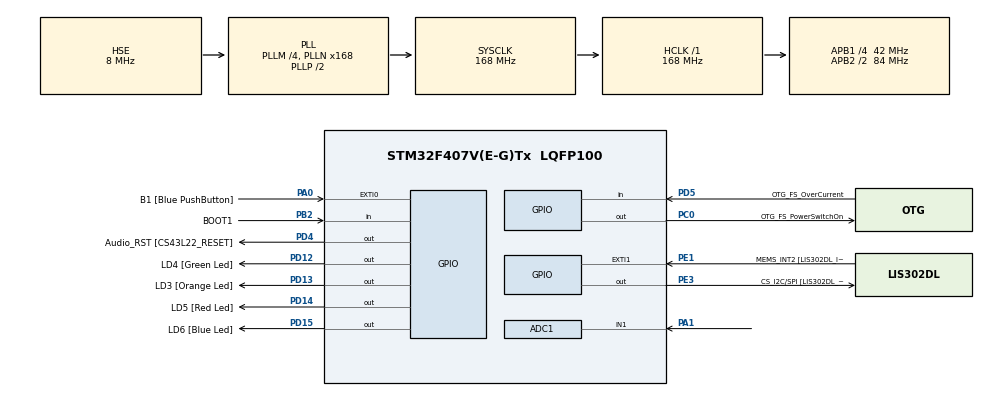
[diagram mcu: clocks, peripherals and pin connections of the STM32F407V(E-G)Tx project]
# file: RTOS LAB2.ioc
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ADC1.Channel-0\#ChannelRegularConversion=ADC_CHANNEL_1
ADC1.Channel-1\#ChannelRegularConversion=ADC_CHANNEL_TEMPSENSOR
ADC1.ClockPrescaler=ADC_CLOCK_SYNC_PCLK_DIV4
ADC1.NbrOfConversion=2
ADC1.NbrOfConversionFlag=1
ADC1.Rank-0\#ChannelRegularConversion=1
ADC1.Rank-1\#ChannelRegularConversion=2
ADC1.SamplingTime-0\#ChannelRegularConversion=ADC_SAMPLETIME_56CYCLES
ADC1.SamplingTime-1\#ChannelRegularConversion=ADC_SAMPLETIME_480CYCLES
ADC1.ScanConvMode=ENABLE
ADC1.master=1
FREERTOS.Queues01=BestQueue,16,uint16_t,0,Dynamic,NULL,NULL
FREERTOS.Tasks01=Task_A,24,128,StartTask_A,Default,NULL,Dynamic,NULL,NULL
FREERTOS.Timers01=ADCTimer,Callback01,osTimerPeriodic,Default,NULL,Dynamic,NULL
FREERTOS.configUSE_NEWLIB_REENTRANT=1
FREERTOS.configUSE_TIMERS=1
Mcu.Family=STM32F4
Mcu.Name=STM32F407V(E-G)Tx
Mcu.Package=LQFP100
NVIC.PriorityGroup=NVIC_PRIORITYGROUP_4
NVIC.TIM1_UP_TIM10_IRQn=true\:5\:0\:false\:false\:true\:true\:true\:true\:true
NVIC.TIM3_IRQn=true\:15\:0\:false\:false\:true\:false\:false\:true\:true
NVIC.TimeBase=TIM3_IRQn
NVIC.TimeBaseIP=TIM3
PA0-WKUP.GPIO_Label=B1 [Blue PushButton]
PA0-WKUP.Signal=GPXTI0
PA1.Signal=ADCx_IN1
PA10.GPIO_Label=OTG_FS_ID
PA10.GPIO_Mode=GPIO_MODE_AF_PP
PA10.GPIO_PuPd=GPIO_NOPULL
PA10.GPIO_Speed=GPIO_SPEED_FREQ_LOW
PA10.Signal=USB_OTG_FS_ID
PA11.GPIO_Label=OTG_FS_DM
PA11.GPIO_Mode=GPIO_MODE_AF_PP
PA11.GPIO_PuPd=GPIO_NOPULL
PA11.GPIO_Speed=GPIO_SPEED_FREQ_LOW
PA11.Signal=USB_OTG_FS_DM
PA12.GPIO_Label=OTG_FS_DP
PA12.GPIO_Mode=GPIO_MODE_AF_PP
PA12.GPIO_PuPd=GPIO_NOPULL
PA12.GPIO_Speed=GPIO_SPEED_FREQ_LOW
PA12.Signal=USB_OTG_FS_DP
PA13.GPIO_Label=SWDIO
PA13.Mode=Serial_Wire
PA13.Signal=SYS_JTMS-SWDIO
PA14.GPIO_Label=SWCLK
PA14.Mode=Serial_Wire
PA14.Signal=SYS_JTCK-SWCLK
PA4.GPIO_Label=I2S3_WS [CS43L22_LRCK]
PA4.GPIO_Mode=GPIO_MODE_AF_PP
PA4.GPIO_PuPd=GPIO_NOPULL
PA4.GPIO_Speed=GPIO_SPEED_FREQ_LOW
PA4.Signal=I2S3_WS
PA5.GPIO_Label=SPI1_SCK [LIS302DL_SCL/SPC]
PA5.GPIO_Mode=GPIO_MODE_AF_PP
PA5.GPIO_PuPd=GPIO_NOPULL
PA5.GPIO_Speed=GPIO_SPEED_FREQ_LOW
PA5.Signal=SPI1_SCK
PA6.GPIO_Label=SPI1_MISO [LIS302DL_SDO]
PA6.GPIO_Mode=GPIO_MODE_AF_PP
PA6.GPIO_PuPd=GPIO_NOPULL
PA6.GPIO_Speed=GPIO_SPEED_FREQ_LOW
PA6.Signal=SPI1_MISO
PA7.GPIO_Label=SPI1_MOSI [LIS302DL_SDA/SDI/SDO]
PA7.GPIO_Mode=GPIO_MODE_AF_PP
PA7.GPIO_PuPd=GPIO_NOPULL
PA7.GPIO_Speed=GPIO_SPEED_FREQ_LOW
PA7.Signal=SPI1_MOSI
PA9.GPIO_Label=VBUS_FS
PA9.GPIO_Mode=GPIO_MODE_INPUT
PA9.GPIO_PuPd=GPIO_NOPULL
PA9.Signal=USB_OTG_FS_VBUS
PB10.GPIO_Label=CLK_IN [MP45DT02_CLK]
PB10.GPIO_Mode=GPIO_MODE_AF_PP
PB10.GPIO_PuPd=GPIO_NOPULL
PB10.GPIO_Speed=GPIO_SPEED_FREQ_LOW
PB10.Signal=I2S2_CK
PB2.GPIO_Label=BOOT1
PB2.GPIO_Mode=GPIO_MODE_INPUT
PB2.GPIO_PuPd=GPIO_NOPULL
PB2.Signal=GPIO_Input
PB3.GPIO_Label=SWO
PB3.Signal=SYS_JTDO-SWO
PB6.GPIO_Label=Audio_SCL [CS43L22_SCL]
PB6.GPIO_Mode=GPIO_MODE_AF_OD
PB6.GPIO_PuPd=GPIO_NOPULL
PB6.GPIO_Speed=GPIO_SPEED_FREQ_LOW
PB6.Signal=I2C1_SCL
PB9.GPIO_Label=Audio_SDA [CS43L22_SDA]
PB9.GPIO_Mode=GPIO_MODE_AF_OD
PB9.GPIO_PuPd=GPIO_NOPULL
PB9.GPIO_Speed=GPIO_SPEED_FREQ_LOW
PB9.Signal=I2C1_SDA
PC0.GPIO_Label=OTG_FS_PowerSwitchOn
PC0.GPIO_PuPd=GPIO_NOPULL
PC0.GPIO_Speed=GPIO_SPEED_FREQ_LOW
PC0.PinState=GPIO_PIN_SET
PC0.Signal=GPIO_Output
PC10.GPIO_Label=I2S3_SCK [CS43L22_SCLK]
PC10.GPIO_Mode=GPIO_MODE_AF_PP
PC10.GPIO_PuPd=GPIO_NOPULL
PC10.GPIO_Speed=GPIO_SPEED_FREQ_LOW
PC10.Signal=I2S3_CK
PC12.GPIO_Label=I2S3_SD [CS43L22_SDIN]
PC12.GPIO_Mode=GPIO_MODE_AF_PP
PC12.GPIO_PuPd=GPIO_NOPULL
PC12.GPIO_Speed=GPIO_SPEED_FREQ_LOW
PC12.Signal=I2S3_SD
PC14-OSC32_IN.GPIO_Label=PC14-OSC32_IN
PC14-OSC32_IN.Signal=RCC_OSC32_IN
PC15-OSC32_OUT.GPIO_Label=PC15-OSC32_OUT
PC15-OSC32_OUT.Signal=RCC_OSC32_OUT
PC3.GPIO_Label=PDM_OUT [MP45DT02_DOUT]
PC3.GPIO_Mode=GPIO_MODE_AF_PP
PC3.GPIO_PuPd=GPIO_NOPULL
PC3.GPIO_Speed=GPIO_SPEED_FREQ_LOW
PC3.Signal=I2S2_SD
PC7.GPIO_Label=I2S3_MCK [CS43L22_MCLK]
PC7.GPIO_Mode=GPIO_MODE_AF_PP
PC7.GPIO_PuPd=GPIO_NOPULL
PC7.GPIO_Speed=GPIO_SPEED_FREQ_LOW
PC7.Signal=I2S3_MCK
PD12.GPIO_Label=LD4 [Green Led]
PD12.GPIO_PuPd=GPIO_NOPULL
PD12.GPIO_Speed=GPIO_SPEED_FREQ_LOW
PD12.Signal=GPIO_Output
PD13.GPIO_Label=LD3 [Orange Led]
PD13.GPIO_PuPd=GPIO_NOPULL
PD13.GPIO_Speed=GPIO_SPEED_FREQ_LOW
PD13.Signal=GPIO_Output
PD14.GPIO_Label=LD5 [Red Led]
PD14.GPIO_PuPd=GPIO_NOPULL
PD14.GPIO_Speed=GPIO_SPEED_FREQ_LOW
PD14.Signal=GPIO_Output
PD15.GPIO_Label=LD6 [Blue Led]
PD15.GPIO_PuPd=GPIO_NOPULL
PD15.GPIO_Speed=GPIO_SPEED_FREQ_LOW
PD15.Signal=GPIO_Output
PD4.GPIO_Label=Audio_RST [CS43L22_RESET]
PD4.GPIO_PuPd=GPIO_NOPULL
PD4.GPIO_Speed=GPIO_SPEED_FREQ_LOW
PD4.Signal=GPIO_Output
PD5.GPIO_Label=OTG_FS_OverCurrent
PD5.GPIO_Mode=GPIO_MODE_INPUT
PD5.GPIO_PuPd=GPIO_NOPULL
PD5.Signal=GPIO_Input
PE1.GPIO_Label=MEMS_INT2 [LIS302DL_INT2]
PE1.GPIO_ModeDefaultEXTI=GPIO_MODE_EVT_RISING
PE1.GPIO_PuPd=GPIO_NOPULL
PE1.Signal=GPXTI1
PE3.GPIO_Label=CS_I2C/SPI [LIS302DL_CS_I2C/SPI]
PE3.GPIO_PuPd=GPIO_NOPULL
PE3.GPIO_Speed=GPIO_SPEED_FREQ_LOW
PE3.Signal=GPIO_Output
PH0-OSC_IN.GPIO_Label=PH0-OSC_IN
PH0-OSC_IN.Mode=HSE-External-Oscillator
PH0-OSC_IN.Signal=RCC_OSC_IN
PH1-OSC_OUT.GPIO_Label=PH1-OSC_OUT
PH1-OSC_OUT.Mode=HSE-External-Oscillator
PH1-OSC_OUT.Signal=RCC_OSC_OUT
ProjectManager.HeapSize=0x200
ProjectManager.StackSize=0x400
ProjectManager.TargetToolchain=STM32CubeIDE
RCC.48MHZClocksFreq_Value=48000000
RCC.AHBFreq_Value=168000000
RCC.APB1CLKDivider=RCC_HCLK_DIV4
RCC.APB1Freq_Value=42000000
RCC.APB1TimFreq_Value=84000000
RCC.APB2CLKDivider=RCC_HCLK_DIV2
RCC.APB2Freq_Value=84000000
RCC.APB2TimFreq_Value=168000000
RCC.CortexFreq_Value=168000000
RCC.HCLKFreq_Value=168000000
RCC.HSE_VALUE=8000000
RCC.HSI_VALUE=16000000
RCC.LSE_VALUE=32768
RCC.PLLM=4
RCC.PLLN=168
RCC.PLLQ=7
RCC.PLLSourceVirtual=RCC_PLLSOURCE_HSE
RCC.SYSCLKFreq_VALUE=168000000
RCC.SYSCLKSource=RCC_SYSCLKSOURCE_PLLCLK
RCC.VCOOutputFreq_Value=336000000
SH.ADCx_IN1.0=ADC1_IN1,IN1
TIM10.AutoReloadPreload=TIM_AUTORELOAD_PRELOAD_ENABLE
TIM10.Period=732
TIM10.Prescaler=60000
VP_ADC1_TempSens_Input.Mode=IN-TempSens
VP_FREERTOS_VS_CMSIS_V2.Mode=CMSIS_V2
VP_SYS_VS_tim3.Mode=TIM3
VP_TIM10_VS_ClockSourceINT.Mode=Enable_Timer
board=STM32F407G-DISC1

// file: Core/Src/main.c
/* USER CODE BEGIN Header */
/**
  ******************************************************************************
  * @file           : main.c
  * @brief          : Main program body
  ******************************************************************************
  * @attention
  *
  * Copyright (c) 2023 STMicroelectronics.
  * All rights reserved.
  *
  * This software is licensed under terms that can be found in the LICENSE file
  * in the root directory of this software component.
  * If no LICENSE file comes with this software, it is provided AS-IS.
  *
  ******************************************************************************
  */
/* USER CODE END Header */
#include "main.h"
#include "cmsis_os.h"

/* USER CODE BEGIN PTD */
typedef struct AdcVals_t {
	uint16_t volt;
	uint16_t temp;
}AdcVals_t;

typedef struct Temp_t {
	float buff[32];
	uint8_t count;
	float avg;
}Temp_t;
/* USER CODE END PTD */

/* USER CODE BEGIN PD */
#define V_REFF		3.3
#define V25			0.76
#define AVG_SLOP	0.0025
#define ADC_MAX		4095
/* USER CODE END PD */

ADC_HandleTypeDef hadc1;

TIM_HandleTypeDef htim10;

/* Definitions for Task_A */
osThreadId_t Task_AHandle;
const osThreadAttr_t Task_A_attributes = {
  .name = "Task_A",
  .stack_size = 128 * 4,
  .priority = (osPriority_t) osPriorityNormal,
};
/* Definitions for BestQueue */
osMessageQueueId_t BestQueueHandle;
const osMessageQueueAttr_t BestQueue_attributes = {
  .name = "BestQueue"
};
/* Definitions for ADCTimer */
osTimerId_t ADCTimerHandle;
const osTimerAttr_t ADCTimer_attributes = {
  .name = "ADCTimer"
};

void SystemClock_Config(void);
static void MX_GPIO_Init(void);
static void MX_ADC1_Init(void);
static void MX_TIM10_Init(void);
void StartTask_A(void *argument);
void Callback01(void *argument);

/* USER CODE BEGIN PFP */
float TempCalculate(uint16_t ADC_value);
void AverageTempCalculate(Temp_t* temp);

/* USER CODE END PFP */

int main(void)
{

  /* MCU Configuration--------------------------------------------------------*/

  /* Reset of all peripherals, Initializes the Flash interface and the Systick. */
  HAL_Init();

  /* Configure the system clock */
  SystemClock_Config();

  /* Initialize all configured peripherals */
  MX_GPIO_Init();
  MX_ADC1_Init();
  MX_TIM10_Init();

  /* Init scheduler */
  osKernelInitialize();

  /* Create the timer(s) */
  /* creation of ADCTimer */
  ADCTimerHandle = osTimerNew(Callback01, osTimerPeriodic, NULL, &ADCTimer_attributes);

  /* USER CODE BEGIN RTOS_TIMERS */
  /* start timers, add new ones, ... */
//  osTimerStart(ADCTimerHandle, 1000);
  /* USER CODE END RTOS_TIMERS */

  /* Create the queue(s) */
  /* creation of BestQueue */
  BestQueueHandle = osMessageQueueNew (16, sizeof(AdcVals_t), &BestQueue_attributes);

  /* USER CODE BEGIN RTOS_QUEUES */
  /* add queues, ... */
  HAL_TIM_Base_Start_IT(&htim10);
  /* USER CODE END RTOS_QUEUES */

  /* Create the thread(s) */
  /* creation of Task_A */
  Task_AHandle = osThreadNew(StartTask_A, NULL, &Task_A_attributes);

  /* Start scheduler */
  osKernelStart();
  /* We should never get here as control is now taken by the scheduler */
  /* Infinite loop */
  while (1)
  {

  }
}

void SystemClock_Config(void)
{
  RCC_OscInitTypeDef RCC_OscInitStruct = {0};
  RCC_ClkInitTypeDef RCC_ClkInitStruct = {0};

  /** Configure the main internal regulator output voltage
  */
  __HAL_RCC_PWR_CLK_ENABLE();
  __HAL_PWR_VOLTAGESCALING_CONFIG(PWR_REGULATOR_VOLTAGE_SCALE1);

  /** Initializes the RCC Oscillators according to the specified parameters
  * in the RCC_OscInitTypeDef structure.
  */
  RCC_OscInitStruct.OscillatorType = RCC_OSCILLATORTYPE_HSE;
  RCC_OscInitStruct.HSEState = RCC_HSE_ON;
  RCC_OscInitStruct.PLL.PLLState = RCC_PLL_ON;
  RCC_OscInitStruct.PLL.PLLSource = RCC_PLLSOURCE_HSE;
  RCC_OscInitStruct.PLL.PLLM = 4;
  RCC_OscInitStruct.PLL.PLLN = 168;
  RCC_OscInitStruct.PLL.PLLP = RCC_PLLP_DIV2;
  RCC_OscInitStruct.PLL.PLLQ = 7;
  if (HAL_RCC_OscConfig(&RCC_OscInitStruct) != HAL_OK)
  {
    Error_Handler();
  }

  /** Initializes the CPU, AHB and APB buses clocks
  */
  RCC_ClkInitStruct.ClockType = RCC_CLOCKTYPE_HCLK|RCC_CLOCKTYPE_SYSCLK
                              |RCC_CLOCKTYPE_PCLK1|RCC_CLOCKTYPE_PCLK2;
  RCC_ClkInitStruct.SYSCLKSource = RCC_SYSCLKSOURCE_PLLCLK;
  RCC_ClkInitStruct.AHBCLKDivider = RCC_SYSCLK_DIV1;
  RCC_ClkInitStruct.APB1CLKDivider = RCC_HCLK_DIV4;
  RCC_ClkInitStruct.APB2CLKDivider = RCC_HCLK_DIV2;

  if (HAL_RCC_ClockConfig(&RCC_ClkInitStruct, FLASH_LATENCY_5) != HAL_OK)
  {
    Error_Handler();
  }
}

static void MX_ADC1_Init(void)
{

  ADC_ChannelConfTypeDef sConfig = {0};

  /** Configure the global features of the ADC (Clock, Resolution, Data Alignment and number of conversion)
  */
  hadc1.Instance = ADC1;
  hadc1.Init.ClockPrescaler = ADC_CLOCK_SYNC_PCLK_DIV4;
  hadc1.Init.Resolution = ADC_RESOLUTION_12B;
  hadc1.Init.ScanConvMode = ENABLE;
  hadc1.Init.ContinuousConvMode = DISABLE;
  hadc1.Init.DiscontinuousConvMode = DISABLE;
  hadc1.Init.ExternalTrigConvEdge = ADC_EXTERNALTRIGCONVEDGE_NONE;
  hadc1.Init.ExternalTrigConv = ADC_SOFTWARE_START;
  hadc1.Init.DataAlign = ADC_DATAALIGN_RIGHT;
  hadc1.Init.NbrOfConversion = 2;
  hadc1.Init.DMAContinuousRequests = DISABLE;
  hadc1.Init.EOCSelection = ADC_EOC_SINGLE_CONV;
  if (HAL_ADC_Init(&hadc1) != HAL_OK)
  {
    Error_Handler();
  }

  /** Configure for the selected ADC regular channel its corresponding rank in the sequencer and its sample time.
  */
  sConfig.Channel = ADC_CHANNEL_1;
  sConfig.Rank = 1;
  sConfig.SamplingTime = ADC_SAMPLETIME_56CYCLES;
  if (HAL_ADC_ConfigChannel(&hadc1, &sConfig) != HAL_OK)
  {
    Error_Handler();
  }

  /** Configure for the selected ADC regular channel its corresponding rank in the sequencer and its sample time.
  */
  sConfig.Channel = ADC_CHANNEL_TEMPSENSOR;
  sConfig.Rank = 2;
  sConfig.SamplingTime = ADC_SAMPLETIME_480CYCLES;
  if (HAL_ADC_ConfigChannel(&hadc1, &sConfig) != HAL_OK)
  {
    Error_Handler();
  }

}

static void MX_TIM10_Init(void)
{

  htim10.Instance = TIM10;
  htim10.Init.Prescaler = 60000;
  htim10.Init.CounterMode = TIM_COUNTERMODE_UP;
  htim10.Init.Period = 732;
  htim10.Init.ClockDivision = TIM_CLOCKDIVISION_DIV1;
  htim10.Init.AutoReloadPreload = TIM_AUTORELOAD_PRELOAD_ENABLE;
  if (HAL_TIM_Base_Init(&htim10) != HAL_OK)
  {
    Error_Handler();
  }

}

static void MX_GPIO_Init(void)
{
  GPIO_InitTypeDef GPIO_InitStruct = {0};

  /* GPIO Ports Clock Enable */
  __HAL_RCC_GPIOE_CLK_ENABLE();
  __HAL_RCC_GPIOC_CLK_ENABLE();
  __HAL_RCC_GPIOH_CLK_ENABLE();
  __HAL_RCC_GPIOA_CLK_ENABLE();
  __HAL_RCC_GPIOB_CLK_ENABLE();
  __HAL_RCC_GPIOD_CLK_ENABLE();

  /*Configure GPIO pin Output Level */
  HAL_GPIO_WritePin(CS_I2C_SPI_GPIO_Port, CS_I2C_SPI_Pin, GPIO_PIN_RESET);

  /*Configure GPIO pin Output Level */
  HAL_GPIO_WritePin(OTG_FS_PowerSwitchOn_GPIO_Port, OTG_FS_PowerSwitchOn_Pin, GPIO_PIN_SET);

  /*Configure GPIO pin Output Level */
  HAL_GPIO_WritePin(GPIOD, LD4_Pin|LD3_Pin|LD5_Pin|LD6_Pin
                          |Audio_RST_Pin, GPIO_PIN_RESET);

  /*Configure GPIO pin : CS_I2C_SPI_Pin */
  GPIO_InitStruct.Pin = CS_I2C_SPI_Pin;
  GPIO_InitStruct.Mode = GPIO_MODE_OUTPUT_PP;
  GPIO_InitStruct.Pull = GPIO_NOPULL;
  GPIO_InitStruct.Speed = GPIO_SPEED_FREQ_LOW;
  HAL_GPIO_Init(CS_I2C_SPI_GPIO_Port, &GPIO_InitStruct);

  /*Configure GPIO pin : OTG_FS_PowerSwitchOn_Pin */
  GPIO_InitStruct.Pin = OTG_FS_PowerSwitchOn_Pin;
  GPIO_InitStruct.Mode = GPIO_MODE_OUTPUT_PP;
  GPIO_InitStruct.Pull = GPIO_NOPULL;
  GPIO_InitStruct.Speed = GPIO_SPEED_FREQ_LOW;
  HAL_GPIO_Init(OTG_FS_PowerSwitchOn_GPIO_Port, &GPIO_InitStruct);

  /*Configure GPIO pin : PDM_OUT_Pin */
  GPIO_InitStruct.Pin = PDM_OUT_Pin;
  GPIO_InitStruct.Mode = GPIO_MODE_AF_PP;
  GPIO_InitStruct.Pull = GPIO_NOPULL;
  GPIO_InitStruct.Speed = GPIO_SPEED_FREQ_LOW;
  GPIO_InitStruct.Alternate = GPIO_AF5_SPI2;
  HAL_GPIO_Init(PDM_OUT_GPIO_Port, &GPIO_InitStruct);

  /*Configure GPIO pin : B1_Pin */
  GPIO_InitStruct.Pin = B1_Pin;
  GPIO_InitStruct.Mode = GPIO_MODE_IT_RISING;
  GPIO_InitStruct.Pull = GPIO_NOPULL;
  HAL_GPIO_Init(B1_GPIO_Port, &GPIO_InitStruct);

  /*Configure GPIO pin : I2S3_WS_Pin */
  GPIO_InitStruct.Pin = I2S3_WS_Pin;
  GPIO_InitStruct.Mode = GPIO_MODE_AF_PP;
  GPIO_InitStruct.Pull = GPIO_NOPULL;
  GPIO_InitStruct.Speed = GPIO_SPEED_FREQ_LOW;
  GPIO_InitStruct.Alternate = GPIO_AF6_SPI3;
  HAL_GPIO_Init(I2S3_WS_GPIO_Port, &GPIO_InitStruct);

  /*Configure GPIO pins : SPI1_SCK_Pin SPI1_MISO_Pin SPI1_MOSI_Pin */
  GPIO_InitStruct.Pin = SPI1_SCK_Pin|SPI1_MISO_Pin|SPI1_MOSI_Pin;
  GPIO_InitStruct.Mode = GPIO_MODE_AF_PP;
  GPIO_InitStruct.Pull = GPIO_NOPULL;
  GPIO_InitStruct.Speed = GPIO_SPEED_FREQ_LOW;
  GPIO_InitStruct.Alternate = GPIO_AF5_SPI1;
  HAL_GPIO_Init(GPIOA, &GPIO_InitStruct);

  /*Configure GPIO pin : BOOT1_Pin */
  GPIO_InitStruct.Pin = BOOT1_Pin;
  GPIO_InitStruct.Mode = GPIO_MODE_INPUT;
  GPIO_InitStruct.Pull = GPIO_NOPULL;
  HAL_GPIO_Init(BOOT1_GPIO_Port, &GPIO_InitStruct);

  /*Configure GPIO pin : CLK_IN_Pin */
  GPIO_InitStruct.Pin = CLK_IN_Pin;
  GPIO_InitStruct.Mode = GPIO_MODE_AF_PP;
  GPIO_InitStruct.Pull = GPIO_NOPULL;
  GPIO_InitStruct.Speed = GPIO_SPEED_FREQ_LOW;
  GPIO_InitStruct.Alternate = GPIO_AF5_SPI2;
  HAL_GPIO_Init(CLK_IN_GPIO_Port, &GPIO_InitStruct);

  /*Configure GPIO pins : LD4_Pin LD3_Pin LD5_Pin LD6_Pin
                           Audio_RST_Pin */
  GPIO_InitStruct.Pin = LD4_Pin|LD3_Pin|LD5_Pin|LD6_Pin
                          |Audio_RST_Pin;
  GPIO_InitStruct.Mode = GPIO_MODE_OUTPUT_PP;
  GPIO_InitStruct.Pull = GPIO_NOPULL;
  GPIO_InitStruct.Speed = GPIO_SPEED_FREQ_LOW;
  HAL_GPIO_Init(GPIOD, &GPIO_InitStruct);

  /*Configure GPIO pins : I2S3_MCK_Pin I2S3_SCK_Pin I2S3_SD_Pin */
  GPIO_InitStruct.Pin = I2S3_MCK_Pin|I2S3_SCK_Pin|I2S3_SD_Pin;
  GPIO_InitStruct.Mode = GPIO_MODE_AF_PP;
  GPIO_InitStruct.Pull = GPIO_NOPULL;
  GPIO_InitStruct.Speed = GPIO_SPEED_FREQ_LOW;
  GPIO_InitStruct.Alternate = GPIO_AF6_SPI3;
  HAL_GPIO_Init(GPIOC, &GPIO_InitStruct);

  /*Configure GPIO pin : VBUS_FS_Pin */
  GPIO_InitStruct.Pin = VBUS_FS_Pin;
  GPIO_InitStruct.Mode = GPIO_MODE_INPUT;
  GPIO_InitStruct.Pull = GPIO_NOPULL;
  HAL_GPIO_Init(VBUS_FS_GPIO_Port, &GPIO_InitStruct);

  /*Configure GPIO pins : OTG_FS_ID_Pin OTG_FS_DM_Pin OTG_FS_DP_Pin */
  GPIO_InitStruct.Pin = OTG_FS_ID_Pin|OTG_FS_DM_Pin|OTG_FS_DP_Pin;
  GPIO_InitStruct.Mode = GPIO_MODE_AF_PP;
  GPIO_InitStruct.Pull = GPIO_NOPULL;
  GPIO_InitStruct.Speed = GPIO_SPEED_FREQ_LOW;
  GPIO_InitStruct.Alternate = GPIO_AF10_OTG_FS;
  HAL_GPIO_Init(GPIOA, &GPIO_InitStruct);

  /*Configure GPIO pin : OTG_FS_OverCurrent_Pin */
  GPIO_InitStruct.Pin = OTG_FS_OverCurrent_Pin;
  GPIO_InitStruct.Mode = GPIO_MODE_INPUT;
  GPIO_InitStruct.Pull = GPIO_NOPULL;
  HAL_GPIO_Init(OTG_FS_OverCurrent_GPIO_Port, &GPIO_InitStruct);

  /*Configure GPIO pins : Audio_SCL_Pin Audio_SDA_Pin */
  GPIO_InitStruct.Pin = Audio_SCL_Pin|Audio_SDA_Pin;
  GPIO_InitStruct.Mode = GPIO_MODE_AF_OD;
  GPIO_InitStruct.Pull = GPIO_NOPULL;
  GPIO_InitStruct.Speed = GPIO_SPEED_FREQ_LOW;
  GPIO_InitStruct.Alternate = GPIO_AF4_I2C1;
  HAL_GPIO_Init(GPIOB, &GPIO_InitStruct);

  /*Configure GPIO pin : MEMS_INT2_Pin */
  GPIO_InitStruct.Pin = MEMS_INT2_Pin;
  GPIO_InitStruct.Mode = GPIO_MODE_EVT_RISING;
  GPIO_InitStruct.Pull = GPIO_NOPULL;
  HAL_GPIO_Init(MEMS_INT2_GPIO_Port, &GPIO_InitStruct);

}

/* USER CODE BEGIN 4 */
void AverageTempCalculate(Temp_t* temp)
{
	uint8_t i;
	temp->avg = 0;

	for(i = 0; i < 32; i++)
	{
		if(temp->buff[i] == 0) break;
		temp->avg += temp->buff[i];
	}

	temp->avg /= i;
}

float TempCalculate(uint16_t ADC_value)
{
	float temp = ((((ADC_value * V_REFF / 4095 - V25) / AVG_SLOP) + 25)/2);

	return temp;

}
/* USER CODE END 4 */

void StartTask_A(void *argument)
{
  /* USER CODE BEGIN 5 */
	AdcVals_t raw;
	Temp_t temp = {0};

	/* Infinite loop */

	for(;;)
	{
		  if(osMessageQueueGetCount(BestQueueHandle)) {

			  if(osMessageQueueGet(BestQueueHandle, (void*)&raw, 0, 0) != osOK) Error_Handler();

			  if(temp.count == 31) temp.count = 0;
			  temp.buff[temp.count++] = TempCalculate(raw.temp);
			  AverageTempCalculate(&temp);
		  }

	  osDelay(1);
	}
  /* USER CODE END 5 */
}

/* Callback01 function */
void Callback01(void *argument)
{
  /* USER CODE BEGIN Callback01 */

//	AdcVals_t adc_vals;
//
//	// Get ADCs here
//	HAL_ADC_Start(&hadc1);
//	HAL_ADC_PollForConversion(&hadc1, 500);
//	adc_vals.volt = HAL_ADC_GetValue(&hadc1);
//
//	HAL_ADC_Start(&hadc1);
//	HAL_ADC_PollForConversion(&hadc1, 500);
//	adc_vals.temp = HAL_ADC_GetValue(&hadc1);
//
//	if(osMessageQueuePut(BestQueueHandle, (void*)&adc_vals, 0, 0) != osOK) Error_Handler();
  /* USER CODE END Callback01 */
}

void HAL_TIM_PeriodElapsedCallback(TIM_HandleTypeDef *htim)
{
  if (htim->Instance == TIM3) {
    HAL_IncTick();
  }
  /* USER CODE BEGIN Callback 1 */
  else if(htim->Instance == TIM10)
  {
	  HAL_GPIO_WritePin(LD6_GPIO_Port, LD6_Pin, GPIO_PIN_SET);

	  static uint8_t adc_conversion_in_progress = 0;

	  static AdcVals_t adc_vals;

	  if (adc_conversion_in_progress == 0) {

	    	HAL_ADC_Start(&hadc1);

	    	adc_conversion_in_progress = 1;

	    }  if (adc_conversion_in_progress == 1) {

	    	if (HAL_ADC_PollForConversion(&hadc1, 100) == HAL_OK) {
	    	        adc_vals.volt = HAL_ADC_GetValue(&hadc1);

	    	        // Start ADC conversion for temperature
	    	         HAL_ADC_Start(&hadc1);
	    	         adc_conversion_in_progress = 2;
	    	              }
	    }  if (adc_conversion_in_progress == 2) {

	    	if (HAL_ADC_PollForConversion(&hadc1, 100) == HAL_OK) {
	    	        adc_vals.temp = HAL_ADC_GetValue(&hadc1);
	    	        adc_conversion_in_progress = 0;

	    	if(osMessageQueuePut(BestQueueHandle, &adc_vals, 0, 0) != osOK){
	    		Error_Handler();
	    	}

	        HAL_GPIO_WritePin(LD6_GPIO_Port, LD6_Pin, GPIO_PIN_RESET);

	        // Start new interrupt
//	        HAL_TIM_Base_Start_IT(&htim10);
	    	}
	    }
  }
  /* USER CODE END Callback 1 */
}

void Error_Handler(void)
{
  __disable_irq();
  while (1)
  {
  }
}
